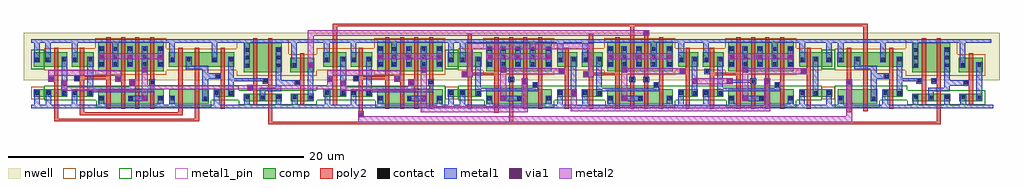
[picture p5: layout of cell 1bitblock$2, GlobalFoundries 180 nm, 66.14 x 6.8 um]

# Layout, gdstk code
from math import pi, radians
import gdstk
lib = gdstk.Library(unit=1e-6, precision=5e-09)
def R(c, l, rs):  # rectangles x0, y0, x1, y1
    for r in rs: c.add(gdstk.rectangle(r[:2], r[2:], *l))
def A(c, l, x, y, w, h, nx, ny, dx, dy):  # array of equal rectangles
    R(c, l, [(x+i*dx, y+j*dy, x+i*dx+w, y+j*dy+h) for i in range(nx) for j in range(ny)])
def P(c, l, *ps):  # polygons
    for p in ps: c.add(gdstk.Polygon(p, *l))
nwell = (21, 0)
comp = (22, 0)
poly2 = (30, 0)
pplus = (31, 0)
nplus = (32, 0)
contact = (33, 0)
metal1 = (34, 0)
metal1_pin = (34, 10)
via1 = (35, 0)
metal2 = (36, 0)

or_1_2 = lib.new_cell('OR$1$2')

via_dev_3_2 = lib.new_cell('via_dev$3$2')

via_dev_1_2_2 = lib.new_cell('via_dev$1$2$2')

mux41_2 = lib.new_cell('MUX41$2')
mux41_2.add(gdstk.Reference(via_dev_3_2, (5.77,2.835)))
mux41_2.add(gdstk.Reference(via_dev_3_2, (3.7,2.835)))
mux41_2.add(gdstk.Reference(via_dev_3_2, (1.77,2.835)))
mux41_2.add(gdstk.Reference(via_dev_3_2, (3.1,-0.005), rotation=pi, x_reflection=True))
mux41_2.add(gdstk.Reference(via_dev_3_2, (3.1,1.935), rotation=pi, x_reflection=True))
mux41_2.add(gdstk.Reference(via_dev_1_2_2, (6.68,1.835)))
mux41_2.add(gdstk.Reference(via_dev_3_2, (13.97,2.835)))
mux41_2.add(gdstk.Reference(via_dev_3_2, (11.9,2.835)))
mux41_2.add(gdstk.Reference(via_dev_3_2, (11.3,-0.005), rotation=pi, x_reflection=True))
mux41_2.add(gdstk.Reference(via_dev_3_2, (11.3,1.935), rotation=pi, x_reflection=True))
mux41_2.add(gdstk.Reference(via_dev_3_2, (22.17,2.835)))
mux41_2.add(gdstk.Reference(via_dev_3_2, (20.1,2.835)))
mux41_2.add(gdstk.Reference(via_dev_3_2, (18.17,2.835)))
mux41_2.add(gdstk.Reference(via_dev_3_2, (19.5,-0.005), rotation=pi, x_reflection=True))
mux41_2.add(gdstk.Reference(via_dev_3_2, (19.5,1.935), rotation=pi, x_reflection=True))
mux41_2.add(gdstk.Reference(via_dev_1_2_2, (23.08,1.835)))
mux41_2.add(gdstk.Reference(via_dev_3_2, (9.97,2.835)))
mux41_2.add(gdstk.Reference(via_dev_1_2_2, (14.88,1.835)))
mux41_2.add(gdstk.Reference(via_dev_1_2_2, (20.6,1.155)))
mux41_2.add(gdstk.Reference(via_dev_3_2, (7.475,0.365)))
mux41_2.add(gdstk.Reference(via_dev_1_2_2, (0.105,1.62)))
mux41_2.add(gdstk.Reference(via_dev_1_2_2, (8.315,1.62)))
mux41_2.add(gdstk.Reference(via_dev_3_2, (15.675,1.145)))
mux41_2.add(gdstk.Reference(via_dev_3_2, (18.055,1.145)))

and_4 = lib.new_cell('AND$4')

via_dev_1_1_2 = lib.new_cell('via_dev$1$1$2')

via_dev_2_2 = lib.new_cell('via_dev$2$2')

xor_1_2 = lib.new_cell('XOR$1$2')
xor_1_2.add(gdstk.Reference(via_dev_1_1_2, (6.475,1.935)))
xor_1_2.add(gdstk.Reference(via_dev_1_1_2, (1.02,0.98)))
xor_1_2.add(gdstk.Reference(via_dev_1_1_2, (6.475,-0.005)))
xor_1_2.add(gdstk.Reference(via_dev_2_2, (5.63,1.085)))
xor_1_2.add(gdstk.Reference(via_dev_1_1_2, (3.535,2.835)))
xor_1_2.add(gdstk.Reference(via_dev_1_1_2, (5.465,2.835)))
xor_1_2.add(gdstk.Reference(via_dev_1_1_2, (7.535,2.835)))

via_dev_1_4 = lib.new_cell('via_dev$1$4')

via_dev_9 = lib.new_cell('via_dev$9')

xor_3 = lib.new_cell('XOR$3')
xor_3.add(gdstk.Reference(via_dev_1_4, (6.475,1.935)))
xor_3.add(gdstk.Reference(via_dev_1_4, (1.02,0.98)))
xor_3.add(gdstk.Reference(via_dev_1_4, (6.475,-0.005)))
xor_3.add(gdstk.Reference(via_dev_9, (5.63,1.085)))
xor_3.add(gdstk.Reference(via_dev_1_4, (3.535,2.835)))
xor_3.add(gdstk.Reference(via_dev_1_4, (5.465,2.835)))
xor_3.add(gdstk.Reference(via_dev_1_4, (7.535,2.835)))

via_dev_4_2 = lib.new_cell('via_dev$4$2')
R(via_dev_4_2, metal1, [(0,0,0.4,0.4)])
R(via_dev_4_2, via1, [(0.07,0.07,0.33,0.33)])
R(via_dev_4_2, metal2, [(0,0,0.4,0.4)])

and_2_2 = lib.new_cell('AND$2$2')

or_3 = lib.new_cell('OR$3')

via_dev_5_2 = lib.new_cell('via_dev$5$2')
R(via_dev_5_2, poly2, [(0,0,0.4,0.4)])
R(via_dev_5_2, contact, [(0.09,0.09,0.31,0.31)])
R(via_dev_5_2, metal1, [(0,0,0.4,0.4)])
R(via_dev_5_2, via1, [(0.07,0.07,0.33,0.33)])
R(via_dev_5_2, metal2, [(0,0,0.4,0.4)])

c_1bitblock_2 = lib.new_cell('1bitblock$2')
R(c_1bitblock_2, nwell, [(-1.55,1.405,64.59,4.63)])
A(c_1bitblock_2, comp, 29.82, -0.185, 0.415, 1, 3, 1, 8.2, 0)
A(c_1bitblock_2, comp, 30.235, -0.185, 0.455, 1, 3, 1, 8.2, 0)
A(c_1bitblock_2, comp, 31.11, -0.185, 0.7, 1, 3, 1, 8.2, 0)
A(c_1bitblock_2, comp, 31.6, -0.185, 0.65, 1, 3, 1, 8.2, 0)
A(c_1bitblock_2, comp, 32.25, -0.185, 0.45, 1, 3, 1, 8.2, 0)
A(c_1bitblock_2, comp, 33.12, -0.185, 0.695, 1, 3, 1, 8.2, 0)
A(c_1bitblock_2, comp, 33.815, -0.185, 0.44, 1, 3, 1, 8.2, 0)
A(c_1bitblock_2, comp, 34.605, 0.315, 0.415, 0.5, 3, 1, 8.2, 0)
A(c_1bitblock_2, comp, 35.02, 0.315, 0.5, 0.5, 3, 1, 8.2, 0)
A(c_1bitblock_2, comp, 29.815, 2.035, 0.44, 2, 3, 1, 8.2, 0)
A(c_1bitblock_2, comp, 30.255, 2.035, 0.47, 2, 3, 1, 8.2, 0)
A(c_1bitblock_2, comp, 31.185, 2.035, 0.535, 2, 3, 1, 8.2, 0)
A(c_1bitblock_2, comp, 31.72, 2.035, 0.49, 2, 3, 1, 8.2, 0)
A(c_1bitblock_2, comp, 32.21, 2.035, 0.52, 2, 3, 1, 8.2, 0)
A(c_1bitblock_2, comp, 33.19, 2.035, 0.605, 2, 3, 1, 8.2, 0)
A(c_1bitblock_2, comp, 34.605, 2.335, 0.445, 1, 3, 1, 8.2, 0)
R(c_1bitblock_2, comp, [(3.53,-0.185,3.945,0.815), (3.945,-0.185,4.4,0.815), (4.4,-0.185,4.82,0.815), (4.82,-0.185,5.52,0.815), (5.31,-0.185,5.96,0.815), (5.96,-0.185,6.41,0.815), (6.41,-0.185,6.83,0.815), (6.83,-0.185,7.525,0.815), (7.525,-0.185,7.965,0.815), (8.315,-0.185,8.735,0.815), (8.735,-0.185,9.435,0.815), (9.435,-0.185,9.855,0.815), (9.855,-0.185,10.555,0.815), (10.345,-0.185,10.995,0.815), (22.43,-0.185,22.845,0.815), (22.845,-0.185,23.3,0.815), (23.3,-0.185,23.72,0.815), (23.72,-0.185,24.42,0.815), (24.21,-0.185,24.86,0.815), (24.86,-0.185,25.31,0.815), (25.31,-0.185,25.73,0.815), (25.73,-0.185,26.425,0.815), (26.425,-0.185,26.865,0.815), (30.69,-0.185,31.11,0.815), (32.7,-0.185,33.12,0.815), (38.89,-0.185,39.31,0.815), (40.9,-0.185,41.32,0.815), (47.09,-0.185,47.51,0.815), (49.1,-0.185,49.52,0.815), (53.62,-0.185,54.04,0.815), (54.04,-0.185,54.74,0.815), (54.74,-0.185,55.16,0.815), (55.16,-0.185,55.86,0.815), (55.65,-0.185,56.3,0.815), (13.375,0.015,13.815,0.515), (13.815,0.015,14.445,0.515), (14.445,0.015,14.865,0.515), (14.865,0.015,15.5,0.515), (15.5,0.015,15.94,0.515), (16.56,0.015,17.04,0.515), (17.04,0.015,17.7,0.515), (17.7,0.015,18.12,0.515), (58.68,0.015,59.12,0.515), (59.12,0.015,59.75,0.515), (59.75,0.015,60.17,0.515), (60.17,0.015,60.805,0.515), (60.805,0.015,61.245,0.515), (61.865,0.015,62.345,0.515), (62.345,0.015,63.005,0.515), (63.005,0.015,63.425,0.515), (-0.84,0.315,-0.13,0.815), (-0.13,0.315,0.35,0.815), (0.35,0.315,1.01,0.815), (1.01,0.315,1.43,0.815), (1.71,0.315,2.125,0.815), (2.125,0.315,2.76,0.815), (2.76,0.315,3.18,0.815), (11.33,0.315,11.755,0.815), (11.755,0.315,12.305,0.815), (12.305,0.315,12.725,0.815), (18.77,0.315,19.25,0.815), (19.25,0.315,19.91,0.815), (19.91,0.315,20.33,0.815), (20.61,0.315,21.025,0.815), (21.025,0.315,21.66,0.815), (21.66,0.315,22.08,0.815), (27.215,0.315,27.925,0.815), (27.925,0.315,28.415,0.815), (28.415,0.315,29.05,0.815), (29.05,0.315,29.47,0.815), (35.52,0.315,35.94,0.815), (36.29,0.315,36.71,0.815), (36.71,0.315,37.25,0.815), (37.25,0.315,37.67,0.815), (43.72,0.315,44.14,0.815), (44.49,0.315,44.91,0.815), (44.91,0.315,45.45,0.815), (45.45,0.315,45.87,0.815), (51.92,0.315,52.53,0.815), (52.53,0.315,53.24,0.815), (56.635,0.315,57.06,0.815), (57.06,0.315,57.61,0.815), (57.61,0.315,58.03,0.815), (13.375,1.955,13.835,3.955), (13.835,1.955,14.495,3.955), (14.495,1.955,14.84,3.955), (14.84,1.955,15.5,3.955), (15.5,1.955,15.96,3.955), (16.535,1.955,17.02,2.955), (17.02,1.955,17.68,2.955), (17.68,1.955,18.14,2.955), (58.68,1.955,59.14,3.955), (59.14,1.955,59.8,3.955), (59.8,1.955,60.145,3.955), (60.145,1.955,60.805,3.955), (60.805,1.955,61.265,3.955), (61.84,1.955,62.325,2.955), (62.325,1.955,62.985,2.955), (62.985,1.955,63.445,2.955), (3.525,2.035,3.965,4.035), (3.965,2.035,4.435,4.035), (4.435,2.035,4.895,4.035), (4.895,2.035,5.43,4.035), (5.43,2.035,5.92,4.035), (5.92,2.035,6.44,4.035), (6.44,2.035,6.9,4.035), (6.44,2.035,6.9,4.035), (6.9,2.035,7.505,4.035), (7.505,2.035,7.965,4.035), (22.425,2.035,22.865,4.035), (22.865,2.035,23.335,4.035), (23.335,2.035,23.795,4.035), (23.795,2.035,24.33,4.035), (24.33,2.035,24.82,4.035), (24.82,2.035,25.34,4.035), (25.34,2.035,25.8,4.035), (25.34,2.035,25.8,4.035), (25.8,2.035,26.405,4.035), (26.405,2.035,26.865,4.035), (30.725,2.035,31.185,4.035), (32.73,2.035,33.19,4.035), (32.73,2.035,33.19,4.035), (33.795,2.035,34.255,4.035), (38.925,2.035,39.385,4.035), (40.93,2.035,41.39,4.035), (40.93,2.035,41.39,4.035), (41.995,2.035,42.455,4.035), (47.125,2.035,47.585,4.035), (49.13,2.035,49.59,4.035), (49.13,2.035,49.59,4.035), (50.195,2.035,50.655,4.035), (8.295,2.33,8.755,3.33), (8.755,2.33,9.415,3.33), (9.415,2.33,9.875,3.33), (9.875,2.33,10.535,3.33), (10.535,2.33,11.165,3.33), (11.165,2.33,11.625,3.33), (11.625,2.33,12.285,3.33), (12.285,2.33,12.745,3.33), (53.6,2.33,54.06,3.33), (54.06,2.33,54.72,3.33), (54.72,2.33,55.18,3.33), (55.18,2.33,55.84,3.33), (55.84,2.33,56.47,3.33), (56.47,2.33,56.93,3.33), (56.93,2.33,57.59,3.33), (57.59,2.33,58.05,3.33), (-0.86,2.335,-0.13,3.335), (-0.13,2.335,0.33,3.335), (0.33,2.335,0.99,3.335), (0.99,2.335,1.43,3.335), (1.71,2.335,2.155,3.335), (2.155,2.335,2.74,3.335), (2.74,2.335,3.2,3.335), (18.77,2.335,19.23,3.335), (19.23,2.335,19.89,3.335), (19.89,2.335,20.33,3.335), (20.61,2.335,21.055,3.335), (21.055,2.335,21.64,3.335), (21.64,2.335,22.1,3.335), (27.195,2.335,27.925,3.335), (27.925,2.335,28.445,3.335), (28.445,2.335,29.03,3.335), (29.03,2.335,29.49,3.335), (35.05,2.335,35.5,3.335), (35.5,2.335,35.96,3.335), (36.29,2.335,36.74,3.335), (36.74,2.335,37.23,3.335), (37.23,2.335,37.69,3.335), (43.25,2.335,43.7,3.335), (43.7,2.335,44.16,3.335), (44.49,2.335,44.94,3.335), (44.94,2.335,45.43,3.335), (45.43,2.335,45.89,3.335), (51.45,2.335,51.9,3.335), (51.9,2.335,52.53,3.335), (52.53,2.335,53.26,3.335)])
A(c_1bitblock_2, poly2, 32.945, 0.915, 0.38, 0.38, 3, 1, 8.2, 0)
R(c_1bitblock_2, poly2, [(15.03,-1.555,60.615,-1.375), (15.03,-1.375,15.31,4.255), (31.365,-1.375,31.645,4.335), (60.335,-1.375,60.615,4.255), (0.52,-1.355,10.345,-1.175), (0.52,-1.175,0.8,3.635), (10.065,-1.175,10.345,3.63), (2.27,-0.935,9.225,-0.755), (30.36,-0.77,30.64,4.33), (2.27,-0.755,2.55,3.635), (8.945,-0.755,9.225,3.63), (54.25,-0.755,54.53,3.63), (21.17,-0.695,21.45,3.635), (55.37,-0.695,55.65,5.065), (11.815,-0.52,12.095,3.63), (32.32,-0.52,32.6,4.335), (33.325,-0.52,33.605,4.335), (38.56,-0.52,38.84,4.33), (39.565,-0.52,39.845,5.065), (40.52,-0.52,40.8,4.425), (41.525,-0.52,41.805,4.335), (46.76,-0.52,47.04,4.33), (47.765,-0.52,48.045,4.335), (48.72,-0.52,49,4.335), (49.725,-0.52,50.005,4.335), (57.12,-0.52,57.4,3.63), (4.07,-0.515,4.35,4.33), (5.075,-0.515,5.355,4.335), (6.03,-0.515,6.31,4.335), (7.035,-0.515,7.315,4.335), (22.97,-0.515,23.25,4.33), (23.975,-0.515,24.255,4.335), (24.93,-0.515,25.21,4.335), (25.935,-0.515,26.215,4.335), (28.56,-0.515,28.84,4.575), (35.135,-0.515,35.415,3.635), (36.77,-0.515,37.05,4.575), (43.335,-0.515,43.615,3.635), (44.97,-0.515,45.25,3.635), (51.535,-0.515,51.815,3.635), (14.025,-0.285,14.305,0.815), (14.025,-0.285,14.305,4.255), (19.42,-0.285,19.7,5.065), (59.33,-0.285,59.61,0.815), (59.33,-0.285,59.61,4.255), (17.21,-0.205,17.49,3.255), (62.515,-0.205,62.795,3.255), (16.83,1.055,17.21,1.435), (62.135,1.055,62.515,1.435), (6.98,1.095,7.36,1.475), (25.88,1.095,26.26,1.475), (47.71,1.165,48.09,1.545), (14.67,1.2,15.03,1.56), (58.97,1.2,59.33,1.56), (59.975,1.2,60.335,1.56), (40.465,1.275,40.845,1.655), (31.31,1.285,31.69,1.665), (39.51,1.285,39.89,1.665), (1.89,1.355,2.27,1.735), (20.79,1.355,21.17,1.735), (2.55,1.505,4.07,1.685), (21.45,1.505,22.97,1.685), (11.435,1.51,11.815,1.89), (56.74,1.51,57.12,1.89), (28.84,1.755,30.36,1.935), (37.05,1.755,38.56,1.935), (45.25,1.755,46.76,1.935), (44.595,1.835,44.975,2.215), (19.42,5.065,55.65,5.245)])
A(c_1bitblock_2, pplus, 29.61, 1.795, 4.805, 2.48, 3, 1, 8.2, 0)
R(c_1bitblock_2, pplus, [(-1.01,0.145,-0.13,0.985), (27.025,0.145,27.925,0.985), (52.53,0.145,53.43,0.985), (12.915,1.715,16.43,4.195), (16.43,1.715,18.31,3.195), (58.22,1.715,61.735,4.195), (61.735,1.715,63.615,3.195), (3.32,1.795,8.125,4.275), (22.22,1.795,27.025,4.275), (8.125,2.09,12.915,3.57), (53.43,2.09,58.22,3.57), (-0.13,2.095,1.635,3.575), (1.635,2.095,3.32,3.575), (18.31,2.095,20.535,3.575), (20.535,2.095,22.22,3.575), (27.925,2.095,29.61,3.575), (34.415,2.095,36.12,3.575), (36.12,2.095,37.81,3.575), (42.615,2.095,44.32,3.575), (44.32,2.095,46.01,3.575), (50.815,2.095,52.53,3.575)])
A(c_1bitblock_2, nplus, 29.66, -0.425, 4.755, 1.48, 3, 1, 8.2, 0)
A(c_1bitblock_2, nplus, 34.415, 0.075, 1.715, 0.98, 3, 1, 8.2, 0)
R(c_1bitblock_2, nplus, [(3.37,-0.425,8.125,1.055), (8.125,-0.425,11.165,1.055), (22.27,-0.425,27.025,1.055), (53.43,-0.425,56.47,1.055), (13.025,-0.225,16.11,0.755), (16.11,-0.225,18.31,0.755), (58.33,-0.225,61.415,0.755), (61.415,-0.225,63.615,0.755), (-0.13,0.075,1.655,1.055), (1.655,0.075,3.37,1.055), (11.165,0.075,13.025,1.055), (18.31,0.075,20.555,1.055), (20.555,0.075,22.27,1.055), (27.925,0.075,29.66,1.055), (36.13,0.075,37.86,1.055), (44.33,0.075,46.06,1.055), (56.47,0.075,58.33,1.055), (-1.03,2.165,-0.13,3.505), (27.025,2.165,27.925,3.505), (52.53,2.165,53.43,3.505)])
A(c_1bitblock_2, contact, 33.025, 0.995, 0.22, 0.22, 3, 1, 8.2, 0)
A(c_1bitblock_2, contact, 13.495, 2.335, 0.22, 0.22, 1, 3, 0, 0.51)
A(c_1bitblock_2, contact, 15.62, 2.335, 0.22, 0.22, 1, 3, 0, 0.51)
A(c_1bitblock_2, contact, 58.8, 2.335, 0.22, 0.22, 1, 3, 0, 0.51)
A(c_1bitblock_2, contact, 60.925, 2.335, 0.22, 0.22, 1, 3, 0, 0.51)
A(c_1bitblock_2, contact, 3.625, 2.415, 0.22, 0.22, 1, 3, 0, 0.51)
A(c_1bitblock_2, contact, 4.555, 2.415, 0.22, 0.22, 1, 3, 0, 0.51)
A(c_1bitblock_2, contact, 5.555, 2.415, 0.22, 0.22, 1, 3, 0, 0.51)
A(c_1bitblock_2, contact, 6.56, 2.415, 0.22, 0.22, 1, 3, 0, 0.51)
A(c_1bitblock_2, contact, 7.625, 2.415, 0.22, 0.22, 1, 3, 0, 0.51)
A(c_1bitblock_2, contact, 22.525, 2.415, 0.22, 0.22, 1, 3, 0, 0.51)
A(c_1bitblock_2, contact, 23.455, 2.415, 0.22, 0.22, 1, 3, 0, 0.51)
A(c_1bitblock_2, contact, 24.455, 2.415, 0.22, 0.22, 1, 3, 0, 0.51)
A(c_1bitblock_2, contact, 25.46, 2.415, 0.22, 0.22, 1, 3, 0, 0.51)
A(c_1bitblock_2, contact, 26.525, 2.415, 0.22, 0.22, 1, 3, 0, 0.51)
A(c_1bitblock_2, contact, 29.915, 2.415, 0.22, 0.22, 1, 3, 0, 0.51)
A(c_1bitblock_2, contact, 30.845, 2.415, 0.22, 0.22, 1, 3, 0, 0.51)
A(c_1bitblock_2, contact, 31.845, 2.415, 0.22, 0.22, 1, 3, 0, 0.51)
A(c_1bitblock_2, contact, 32.85, 2.415, 0.22, 0.22, 1, 3, 0, 0.51)
A(c_1bitblock_2, contact, 33.915, 2.415, 0.22, 0.22, 1, 3, 0, 0.51)
A(c_1bitblock_2, contact, 38.115, 2.415, 0.22, 0.22, 1, 3, 0, 0.51)
A(c_1bitblock_2, contact, 39.045, 2.415, 0.22, 0.22, 1, 3, 0, 0.51)
A(c_1bitblock_2, contact, 40.045, 2.415, 0.22, 0.22, 1, 3, 0, 0.51)
A(c_1bitblock_2, contact, 41.05, 2.415, 0.22, 0.22, 1, 3, 0, 0.51)
A(c_1bitblock_2, contact, 42.115, 2.415, 0.22, 0.22, 1, 3, 0, 0.51)
A(c_1bitblock_2, contact, 46.315, 2.415, 0.22, 0.22, 1, 3, 0, 0.51)
A(c_1bitblock_2, contact, 47.245, 2.415, 0.22, 0.22, 1, 3, 0, 0.51)
A(c_1bitblock_2, contact, 48.245, 2.415, 0.22, 0.22, 1, 3, 0, 0.51)
A(c_1bitblock_2, contact, 49.25, 2.415, 0.22, 0.22, 1, 3, 0, 0.51)
A(c_1bitblock_2, contact, 50.315, 2.415, 0.22, 0.22, 1, 3, 0, 0.51)
R(c_1bitblock_2, contact, [(3.625,0.075,3.845,0.295), (5.62,0.075,5.84,0.295), (7.625,0.075,7.845,0.295), (8.415,0.075,8.635,0.295), (10.655,0.075,10.875,0.295), (22.525,0.075,22.745,0.295), (24.52,0.075,24.74,0.295), (26.525,0.075,26.745,0.295), (29.915,0.075,30.135,0.295), (31.91,0.075,32.13,0.295), (33.915,0.075,34.135,0.295), (38.115,0.075,38.335,0.295), (40.11,0.075,40.33,0.295), (42.115,0.075,42.335,0.295), (46.315,0.075,46.535,0.295), (48.31,0.075,48.53,0.295), (50.315,0.075,50.535,0.295), (53.72,0.075,53.94,0.295), (55.96,0.075,56.18,0.295), (13.495,0.155,13.715,0.375), (14.545,0.155,14.765,0.375), (15.62,0.155,15.84,0.375), (16.72,0.155,16.94,0.375), (17.8,0.155,18.02,0.375), (58.8,0.155,59.02,0.375), (59.85,0.155,60.07,0.375), (60.925,0.155,61.145,0.375), (62.025,0.155,62.245,0.375), (63.105,0.155,63.325,0.375), (-0.74,0.455,-0.52,0.675), (0.03,0.455,0.25,0.675), (1.11,0.455,1.33,0.675), (1.805,0.455,2.025,0.675), (2.86,0.455,3.08,0.675), (11.435,0.455,11.655,0.675), (12.405,0.455,12.625,0.675), (18.93,0.455,19.15,0.675), (20.01,0.455,20.23,0.675), (20.705,0.455,20.925,0.675), (21.76,0.455,21.98,0.675), (27.315,0.455,27.535,0.675), (28.095,0.455,28.315,0.675), (29.15,0.455,29.37,0.675), (34.7,0.455,34.92,0.675), (35.62,0.455,35.84,0.675), (36.39,0.455,36.61,0.675), (37.35,0.455,37.57,0.675), (42.9,0.455,43.12,0.675), (43.82,0.455,44.04,0.675), (44.59,0.455,44.81,0.675), (45.55,0.455,45.77,0.675), (51.105,0.455,51.325,0.675), (52.02,0.455,52.24,0.675), (52.92,0.455,53.14,0.675), (56.74,0.455,56.96,0.675), (57.71,0.455,57.93,0.675), (16.91,1.135,17.13,1.355), (62.215,1.135,62.435,1.355), (7.06,1.175,7.28,1.395), (25.96,1.175,26.18,1.395), (47.79,1.245,48.01,1.465), (14.74,1.27,14.96,1.49), (59.04,1.27,59.26,1.49), (60.045,1.27,60.265,1.49), (40.545,1.355,40.765,1.575), (31.39,1.365,31.61,1.585), (39.59,1.365,39.81,1.585), (1.97,1.435,2.19,1.655), (20.87,1.435,21.09,1.655), (11.515,1.59,11.735,1.81), (56.82,1.59,57.04,1.81), (44.675,1.915,44.895,2.135), (16.68,2.345,16.9,2.565), (17.8,2.345,18.02,2.565), (61.985,2.345,62.205,2.565), (63.105,2.345,63.325,2.565), (8.415,2.72,8.635,2.94), (9.535,2.72,9.755,2.94), (11.285,2.72,11.505,2.94), (12.405,2.72,12.625,2.94), (53.72,2.72,53.94,2.94), (54.84,2.72,55.06,2.94), (56.59,2.72,56.81,2.94), (57.71,2.72,57.93,2.94), (-0.74,2.725,-0.52,2.945), (-0.01,2.725,0.21,2.945), (1.11,2.725,1.33,2.945), (1.815,2.725,2.035,2.945), (2.86,2.725,3.08,2.945), (18.89,2.725,19.11,2.945), (20.01,2.725,20.23,2.945), (20.715,2.725,20.935,2.945), (21.76,2.725,21.98,2.945), (27.315,2.725,27.535,2.945), (28.105,2.725,28.325,2.945), (29.15,2.725,29.37,2.945), (34.71,2.725,34.93,2.945), (35.62,2.725,35.84,2.945), (36.4,2.725,36.62,2.945), (37.35,2.725,37.57,2.945), (42.91,2.725,43.13,2.945), (43.82,2.725,44.04,2.945), (44.6,2.725,44.82,2.945), (45.55,2.725,45.77,2.945), (51.11,2.725,51.33,2.945), (52.02,2.725,52.24,2.945), (52.92,2.725,53.14,2.945)])
A(c_1bitblock_2, metal1, 31.155, -0.005, 0.675, 0.38, 3, 1, 8.2, 0)
A(c_1bitblock_2, metal1, 29.45, 0.685, 3.875, 0.23, 3, 1, 8.2, 0)
A(c_1bitblock_2, metal1, 32.945, 0.915, 0.38, 0.38, 3, 1, 8.2, 0)
A(c_1bitblock_2, metal1, 32.77, 3.735, 0.38, 0.23, 3, 1, 8.2, 0)
R(c_1bitblock_2, metal1, [(-1.01,-0.465,-0.05,-0.235), (-0.05,-0.465,8.19,-0.235), (7.435,-0.465,12.75,-0.235), (12.75,-0.465,18.85,-0.235), (18.85,-0.465,27.09,-0.235), (27.045,-0.465,28.005,-0.235), (28.005,-0.465,53.335,-0.235), (52.74,-0.465,58.055,-0.235), (58.055,-0.465,64.155,-0.235), (-0.82,-0.235,-0.44,0.375), (-0.05,-0.235,0.33,0.375), (1.725,-0.235,2.105,0.375), (3.545,-0.235,3.925,-0.005), (7.545,-0.235,7.925,-0.005), (8.335,-0.235,8.715,-0.005), (11.355,-0.235,11.735,0.145), (13.415,-0.235,13.795,-0.155), (15.54,-0.235,15.92,0.075), (16.64,-0.235,17.02,0.075), (18.85,-0.235,19.23,0.375), (20.625,-0.235,21.005,0.375), (22.445,-0.235,22.825,-0.005), (26.445,-0.235,26.825,-0.005), (27.235,-0.235,27.615,0.375), (28.015,-0.235,28.395,0.375), (29.835,-0.235,30.215,-0.005), (33.835,-0.235,34.215,-0.005), (34.62,-0.235,35,0.375), (36.31,-0.235,36.69,0.375), (38.035,-0.235,38.415,-0.005), (42.035,-0.235,42.415,-0.005), (42.82,-0.235,43.2,0.375), (44.51,-0.235,44.89,0.375), (46.235,-0.235,46.615,-0.005), (50.235,-0.235,50.615,-0.005), (51.025,-0.235,51.405,0.375), (52.84,-0.235,53.22,0.375), (53.64,-0.235,54.02,-0.005), (56.66,-0.235,57.04,0.145), (58.72,-0.235,59.1,-0.155), (60.845,-0.235,61.225,0.075), (61.945,-0.235,62.325,0.075), (13.415,-0.155,13.795,0.075), (58.72,-0.155,59.1,0.075), (3.545,-0.005,3.925,0.375), (5.54,-0.005,5.92,0.375), (5.92,-0.005,6.475,0.375), (7.545,-0.005,7.925,0.375), (8.335,-0.005,8.715,0.375), (10.575,-0.005,10.955,0.375), (22.445,-0.005,22.825,0.375), (24.44,-0.005,24.82,0.375), (24.82,-0.005,25.375,0.375), (26.445,-0.005,26.825,0.375), (29.835,-0.005,30.215,0.375), (31.83,-0.005,32.21,0.375), (33.835,-0.005,34.215,0.375), (38.035,-0.005,38.415,0.375), (40.03,-0.005,40.41,0.375), (42.035,-0.005,42.415,0.375), (46.235,-0.005,46.615,0.375), (48.23,-0.005,48.61,0.375), (50.235,-0.005,50.615,0.375), (53.64,-0.005,54.02,0.375), (55.88,-0.005,56.26,0.375), (13.415,0.075,13.795,0.455), (14.465,0.075,14.845,0.455), (15.54,0.075,15.92,0.455), (16.64,0.075,17.02,0.455), (17.72,0.075,18.1,0.455), (58.72,0.075,59.1,0.455), (59.77,0.075,60.15,0.455), (60.845,0.075,61.225,0.455), (61.945,0.075,62.325,0.455), (63.025,0.075,63.405,0.455), (11.355,0.145,11.735,0.375), (56.66,0.145,57.04,0.375), (-0.82,0.375,-0.44,0.755), (-0.05,0.375,0.33,0.755), (1.03,0.375,1.41,0.755), (1.725,0.375,2.105,0.755), (2.78,0.375,3.16,0.755), (10.575,0.375,10.955,2.41), (11.355,0.375,11.735,0.755), (12.325,0.375,12.705,0.755), (18.85,0.375,19.23,0.755), (19.93,0.375,20.31,0.755), (20.625,0.375,21.005,0.755), (21.68,0.375,22.06,0.755), (27.235,0.375,27.615,0.755), (28.015,0.375,28.395,0.755), (29.07,0.375,29.45,0.755), (34.62,0.375,35,0.755), (35.54,0.375,35.92,0.755), (36.31,0.375,36.69,0.755), (37.27,0.375,37.65,0.755), (42.82,0.375,43.2,0.755), (43.74,0.375,44.12,0.755), (44.51,0.375,44.89,0.755), (45.47,0.375,45.85,0.755), (51.025,0.375,51.405,0.755), (51.94,0.375,52.32,0.755), (52.84,0.375,53.22,0.755), (55.88,0.375,56.26,2.41), (56.66,0.375,57.04,0.755), (57.63,0.375,58.01,0.755), (14.465,0.455,14.845,0.685), (17.72,0.455,18.1,2.265), (59.77,0.455,60.15,0.685), (63.025,0.455,63.405,2.265), (3.16,0.625,7.035,0.855), (7.035,0.625,7.315,1.105), (22.06,0.625,25.935,0.855), (25.935,0.625,26.215,1.105), (14.465,0.685,15.92,0.915), (59.77,0.685,61.225,0.915), (1.03,0.755,1.41,2.645), (2.78,0.755,3.16,2.645), (12.325,0.755,12.705,2.64), (19.93,0.755,20.31,2.645), (21.68,0.755,22.06,2.645), (29.07,0.755,29.45,2.645), (35.54,0.755,35.92,2.645), (37.27,0.755,37.65,2.645), (43.74,0.755,44.12,2.645), (45.47,0.755,45.85,2.645), (51.94,0.755,52.32,2.645), (57.63,0.755,58.01,2.64), (15.54,0.915,15.92,2.255), (60.845,0.915,61.225,2.255), (15.92,1.055,16.83,1.435), (16.83,1.055,17.21,1.435), (61.225,1.055,62.135,1.435), (62.135,1.055,62.515,1.435), (6.98,1.095,7.36,1.475), (25.88,1.095,26.26,1.475), (47.71,1.165,48.09,1.545), (14.66,1.19,15.04,1.57), (58.96,1.19,59.34,1.57), (59.965,1.19,60.345,1.57), (46.51,1.24,47.71,1.47), (40.465,1.275,40.845,1.655), (31.31,1.285,31.69,1.665), (39.51,1.285,39.89,1.665), (12.705,1.34,14.66,1.57), (58.01,1.34,59.33,1.57), (1.89,1.355,2.27,1.735), (20.79,1.355,21.17,1.735), (10.955,1.51,11.435,1.89), (11.435,1.51,11.815,1.89), (56.26,1.51,56.74,1.89), (56.74,1.51,57.12,1.89), (44.595,1.835,44.975,2.215), (9.455,2.18,10.575,2.41), (54.76,2.18,55.88,2.41), (13.415,2.255,13.795,3.655), (15.54,2.255,15.92,3.655), (58.72,2.255,59.1,3.655), (60.845,2.255,61.225,3.655), (16.6,2.265,16.98,2.645), (17.72,2.265,18.1,2.645), (61.905,2.265,62.285,2.645), (63.025,2.265,63.405,2.645), (3.545,2.335,3.925,3.735), (4.475,2.335,4.855,3.735), (5.475,2.335,5.855,3.735), (6.48,2.335,6.86,3.735), (7.545,2.335,7.925,3.735), (22.445,2.335,22.825,3.735), (23.375,2.335,23.755,3.735), (24.375,2.335,24.755,3.735), (25.38,2.335,25.76,3.735), (26.445,2.335,26.825,3.735), (29.835,2.335,30.215,3.735), (30.765,2.335,31.145,3.735), (31.765,2.335,32.145,3.735), (32.77,2.335,33.15,3.735), (33.835,2.335,34.215,3.735), (38.035,2.335,38.415,3.735), (38.965,2.335,39.345,3.735), (39.965,2.335,40.345,3.735), (40.97,2.335,41.35,3.735), (42.035,2.335,42.415,3.735), (46.235,2.335,46.615,3.735), (47.165,2.335,47.545,3.735), (48.165,2.335,48.545,3.735), (49.17,2.335,49.55,3.735), (50.235,2.335,50.615,3.735), (9.455,2.41,9.835,2.64), (54.76,2.41,55.14,2.64), (8.335,2.64,8.715,3.02), (9.455,2.64,9.835,3.02), (11.205,2.64,11.585,3.02), (12.325,2.64,12.705,3.02), (53.64,2.64,54.02,3.02), (54.76,2.64,55.14,3.02), (56.51,2.64,56.89,3.02), (57.63,2.64,58.01,3.02), (-0.82,2.645,-0.44,3.025), (-0.09,2.645,0.29,3.025), (1.03,2.645,1.41,3.025), (1.735,2.645,2.115,3.025), (2.78,2.645,3.16,3.025), (16.6,2.645,16.98,3.965), (18.81,2.645,19.19,3.025), (19.93,2.645,20.31,3.025), (20.635,2.645,21.015,3.025), (21.68,2.645,22.06,3.025), (27.235,2.645,27.615,3.025), (28.025,2.645,28.405,3.025), (29.07,2.645,29.45,3.025), (34.63,2.645,35.01,3.025), (35.54,2.645,35.92,3.025), (36.32,2.645,36.7,3.025), (37.27,2.645,37.65,3.025), (42.83,2.645,43.21,3.025), (43.74,2.645,44.12,3.025), (44.52,2.645,44.9,3.025), (45.47,2.645,45.85,3.025), (51.03,2.645,51.41,3.025), (51.94,2.645,52.32,3.025), (52.84,2.645,53.22,3.025), (61.905,2.645,62.285,3.965), (8.335,3.02,8.715,3.965), (11.205,3.02,11.585,3.965), (53.64,3.02,54.02,3.965), (56.51,3.02,56.89,3.965), (-0.82,3.025,-0.44,3.965), (-0.09,3.025,0.29,3.965), (1.735,3.025,2.115,3.965), (18.81,3.025,19.19,3.965), (20.635,3.025,21.015,3.965), (27.235,3.025,27.615,3.965), (28.025,3.025,28.405,3.965), (34.63,3.025,35.01,3.965), (36.32,3.025,36.7,3.965), (42.83,3.025,43.21,3.965), (44.52,3.025,44.9,3.965), (51.03,3.025,51.41,3.965), (52.84,3.025,53.22,3.965), (13.415,3.655,13.795,3.965), (58.72,3.655,59.1,3.965), (4.475,3.735,4.855,3.965), (23.375,3.735,23.755,3.965), (-1.01,3.965,-0.13,4.195), (-0.13,3.965,8.65,4.195), (8.65,3.965,12.745,4.195), (12.745,3.965,27.275,4.195), (27.045,3.965,27.925,4.195), (27.925,3.965,52.53,4.195), (52.53,3.965,53.41,4.195), (53.41,3.965,58.05,4.195), (58.05,3.965,64.025,4.195)])
P(c_1bitblock_2, metal1_pin, [(21.325,-0.51),(21.325,-0.51),(21.325,-0.51),(21.325,-0.51)])
A(c_1bitblock_2, metal2, 30.755, 0.395, 0.4, 1.54, 3, 1, 8.2, 0)
A(c_1bitblock_2, metal2, 31.155, 1.835, 3.58, 0.4, 3, 1, 8.2, 0)
A(c_1bitblock_2, metal2, 30.225, 2.835, 3.6, 0.4, 3, 1, 8.2, 0)
R(c_1bitblock_2, metal2, [(21.12,-1.425,54.61,-1.025), (54.21,-1.025,54.61,1.5), (25.375,-0.735,32.605,-0.335), (35.53,-0.685,35.93,0.365), (35.93,-0.685,48.655,-0.285), (48.655,-0.685,49.055,1.155), (25.375,-0.335,25.775,1.935), (32.205,-0.335,32.605,1.185), (6.475,0.395,6.875,1.935), (1.02,0.7,6.03,0.98), (19.92,0.7,24.93,0.98), (6.875,0.8,19.42,1.08), (5.63,0.98,6.03,1.085), (24.53,0.98,24.93,1.085), (19.02,1.08,19.42,1.31), (44.13,1.145,46.11,1.545), (28.5,1.62,28.9,3.92), (36.705,1.62,37.105,3.92), (0.12,1.71,5.075,2.11), (19.02,1.71,23.975,2.11), (17.715,2.655,18.115,4.425), (3.935,2.835,7.535,3.235), (22.835,2.835,26.435,3.235), (28.9,3.52,36.705,3.92), (17.715,4.425,40.46,4.825)])
c_1bitblock_2.add(gdstk.Reference(or_1_2, (13.32,0.19)))
c_1bitblock_2.add(gdstk.Reference(mux41_2, (18,0.14)))
c_1bitblock_2.add(gdstk.Reference(and_4, (5.895,0.84)))
c_1bitblock_2.add(gdstk.Reference(xor_1_2, (13.925,-1.345), x_reflection=True))
c_1bitblock_2.add(gdstk.Reference(xor_3, (2.61,-1.345), x_reflection=True))
c_1bitblock_2.add(gdstk.Reference(via_dev_4_2, (6.475,1.935)))
c_1bitblock_2.add(gdstk.Reference(via_dev_4_2, (1.02,0.98)))
c_1bitblock_2.add(gdstk.Reference(via_dev_4_2, (6.475,-0.005)))
c_1bitblock_2.add(gdstk.Reference(and_2_2, (28,-2.04), x_reflection=True))
c_1bitblock_2.add(gdstk.Reference(or_3, (36,-1.39), x_reflection=True))
c_1bitblock_2.add(gdstk.Reference(via_dev_1_4, (0.935,1.995)))
c_1bitblock_2.add(gdstk.Reference(via_dev_5_2, (5.63,1.085)))
c_1bitblock_2.add(gdstk.Reference(via_dev_4_2, (3.535,2.835)))
c_1bitblock_2.add(gdstk.Reference(via_dev_4_2, (5.465,2.835)))
c_1bitblock_2.add(gdstk.Reference(via_dev_4_2, (7.535,2.835)))
c_1bitblock_2.add(gdstk.Reference(via_dev_5_2, (4.675,1.31)))
c_1bitblock_2.add(gdstk.Reference(via_dev_5_2, (0.12,1.31)))
c_1bitblock_2.add(gdstk.Reference(via_dev_5_2, (13.625,0.71)))
c_1bitblock_2.add(gdstk.Reference(via_dev_4_2, (25.375,1.935)))
c_1bitblock_2.add(gdstk.Reference(via_dev_4_2, (19.92,0.98)))
c_1bitblock_2.add(gdstk.Reference(via_dev_4_2, (25.375,-0.005)))
c_1bitblock_2.add(gdstk.Reference(via_dev_5_2, (24.53,1.085)))
c_1bitblock_2.add(gdstk.Reference(via_dev_4_2, (22.435,2.835)))
c_1bitblock_2.add(gdstk.Reference(via_dev_4_2, (24.365,2.835)))
c_1bitblock_2.add(gdstk.Reference(via_dev_4_2, (26.435,2.835)))
c_1bitblock_2.add(gdstk.Reference(via_dev_5_2, (23.575,1.31)))
c_1bitblock_2.add(gdstk.Reference(via_dev_5_2, (19.02,1.31)))
c_1bitblock_2.add(gdstk.Reference(via_dev_4_2, (33.825,2.835)))
c_1bitblock_2.add(gdstk.Reference(via_dev_4_2, (31.755,2.835)))
c_1bitblock_2.add(gdstk.Reference(via_dev_4_2, (29.825,2.835)))
c_1bitblock_2.add(gdstk.Reference(via_dev_4_2, (31.155,-0.005), rotation=pi, x_reflection=True))
c_1bitblock_2.add(gdstk.Reference(via_dev_4_2, (31.155,1.935), rotation=pi, x_reflection=True))
c_1bitblock_2.add(gdstk.Reference(via_dev_5_2, (34.735,1.835)))
c_1bitblock_2.add(gdstk.Reference(via_dev_4_2, (42.025,2.835)))
c_1bitblock_2.add(gdstk.Reference(via_dev_4_2, (39.955,2.835)))
c_1bitblock_2.add(gdstk.Reference(via_dev_4_2, (39.355,-0.005), rotation=pi, x_reflection=True))
c_1bitblock_2.add(gdstk.Reference(via_dev_4_2, (39.355,1.935), rotation=pi, x_reflection=True))
c_1bitblock_2.add(gdstk.Reference(via_dev_4_2, (50.225,2.835)))
c_1bitblock_2.add(gdstk.Reference(via_dev_4_2, (48.155,2.835)))
c_1bitblock_2.add(gdstk.Reference(via_dev_4_2, (46.225,2.835)))
c_1bitblock_2.add(gdstk.Reference(via_dev_4_2, (47.555,-0.005), rotation=pi, x_reflection=True))
c_1bitblock_2.add(gdstk.Reference(via_dev_4_2, (47.555,1.935), rotation=pi, x_reflection=True))
c_1bitblock_2.add(gdstk.Reference(via_dev_5_2, (51.135,1.835)))
c_1bitblock_2.add(gdstk.Reference(via_dev_4_2, (38.025,2.835)))
c_1bitblock_2.add(gdstk.Reference(via_dev_5_2, (42.935,1.835)))
c_1bitblock_2.add(gdstk.Reference(via_dev_5_2, (48.655,1.155)))
c_1bitblock_2.add(gdstk.Reference(via_dev_4_2, (35.53,0.365)))
c_1bitblock_2.add(gdstk.Reference(via_dev_5_2, (28.16,1.62)))
c_1bitblock_2.add(gdstk.Reference(via_dev_5_2, (36.37,1.62)))
c_1bitblock_2.add(gdstk.Reference(via_dev_4_2, (43.73,1.145)))
c_1bitblock_2.add(gdstk.Reference(via_dev_4_2, (46.11,1.145)))
c_1bitblock_2.add(gdstk.Reference(via_dev_5_2, (32.205,1.145)))
c_1bitblock_2.add(gdstk.Reference(via_dev_5_2, (40.46,4.425)))
c_1bitblock_2.add(gdstk.Reference(via_dev_4_2, (17.715,2.255)))
c_1bitblock_2.add(gdstk.Reference(via_dev_5_2, (54.21,1.1)))
c_1bitblock_2.add(gdstk.Reference(via_dev_5_2, (21.12,-1.095)))

lib.write_gds('1bitblock_2.gds')
